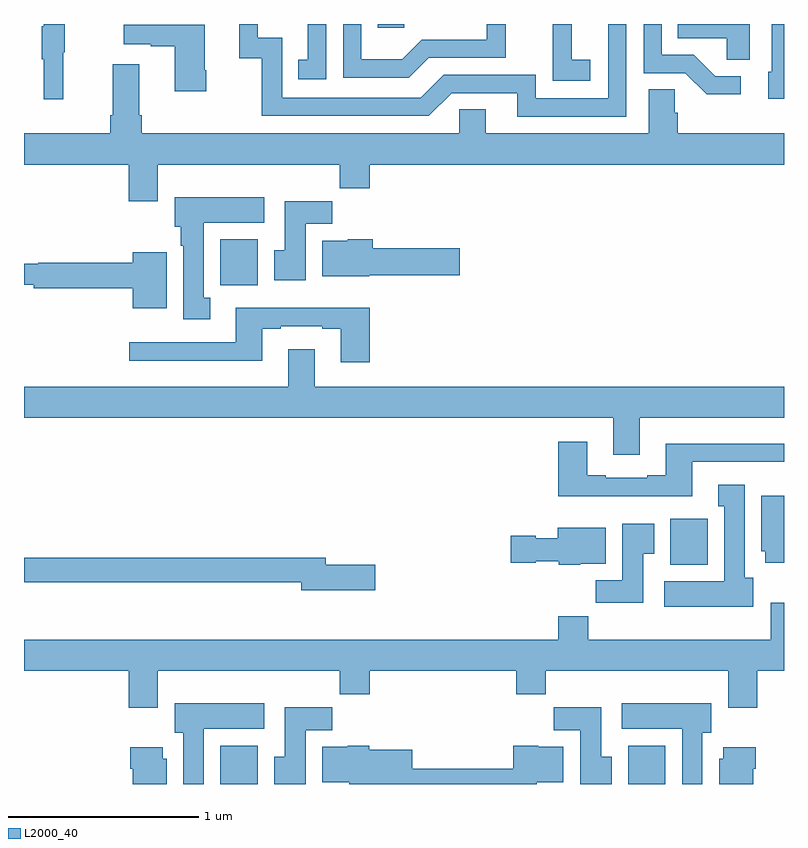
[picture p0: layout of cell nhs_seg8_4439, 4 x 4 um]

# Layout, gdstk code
import gdstk
lib = gdstk.Library(unit=1e-6, precision=1e-09)
def R(c, l, rs):  # rectangles x0, y0, x1, y1
    for r in rs: c.add(gdstk.rectangle(r[:2], r[2:], *l))
def P(c, l, *ps):  # polygons
    for p in ps: c.add(gdstk.Polygon(p, *l))
L2000_40 = (2000, 40)

nhs_seg8_4439 = lib.new_cell('nhs_seg8_4439')
R(nhs_seg8_4439, L2000_40, [(382.034,1119.9,382.231,1120.102), (384.179,1119.9,384.375,1120.102), (384.401,1121.054,384.598,1121.296), (382.034,1122.524,382.231,1122.766), (382.861,1123.881,383.001,1123.9)])
P(nhs_seg8_4439, L2000_40, [(384.171,1123.9),(384.075,1123.9),(384.075,1123.509),(383.694,1123.509),(383.694,1123.632),(383.208,1123.632),(383.088,1123.512),(382.359,1123.512),(382.359,1123.827),(382.23,1123.827),(382.23,1123.9),(382.133,1123.9),(382.133,1123.719),(382.251,1123.719),(382.251,1123.416),(383.13,1123.416),(383.25,1123.536),(383.597,1123.536),(383.597,1123.413),(384.171,1123.413)],
  [(383.131,1123.722),(383.535,1123.722),(383.535,1123.9),(383.436,1123.9),(383.436,1123.818),(383.094,1123.818),(382.99,1123.714),(382.776,1123.714),(382.776,1123.9),(382.68,1123.9),(382.68,1123.617),(383.026,1123.617)],
  [(384.82,1123.9),(384.442,1123.9),(384.442,1123.826),(384.699,1123.826),(384.699,1123.711),(384.82,1123.711)],
  [(384.772,1123.626),(384.637,1123.626),(384.526,1123.737),(384.357,1123.737),(384.357,1123.9),(384.261,1123.9),(384.261,1123.641),(384.48,1123.641),(384.593,1123.529),(384.772,1123.529)],
  [(381.206,1123.752),(381.214,1123.752),(381.214,1123.9),(381.104,1123.9),(381.104,1123.889),(381.093,1123.889),(381.093,1123.715),(381.104,1123.715),(381.104,1123.503),(381.206,1123.503)],
  [(382.59,1123.9),(382.493,1123.9),(382.493,1123.713),(382.444,1123.713),(382.444,1123.608),(382.59,1123.608)],
  [(385,1123.9),(384.936,1123.9),(384.936,1123.65),(384.917,1123.65),(384.917,1123.506),(385,1123.506)],
  [(383.98,1123.711),(383.882,1123.711),(383.882,1123.9),(383.783,1123.9),(383.783,1123.807),(383.782,1123.807),(383.782,1123.601),(383.98,1123.601)],
  [(381.96,1123.657),(381.952,1123.657),(381.952,1123.897),(381.525,1123.897),(381.525,1123.793),(381.668,1123.793),(381.668,1123.783),(381.794,1123.783),(381.794,1123.545),(381.96,1123.545)],
  [(381.703,1123.16),(382.663,1123.16),(382.663,1123.036),(382.82,1123.036),(382.82,1123.16),(385,1123.16),(385,1123.324),(384.44,1123.324),(384.44,1123.433),(384.426,1123.433),(384.426,1123.556),(384.287,1123.556),(384.287,1123.324),(383.431,1123.324),(383.431,1123.451),(383.292,1123.451),(383.292,1123.324),(381.62,1123.324),(381.62,1123.42),(381.607,1123.42),(381.607,1123.687),(381.467,1123.687),(381.467,1123.42),(381.455,1123.42),(381.455,1123.324),(381,1123.324),(381,1123.16),(381.551,1123.16),(381.551,1122.966),(381.703,1122.966)],
  [(381.979,1122.458),(381.946,1122.458),(381.946,1122.854),(382.264,1122.854),(382.264,1122.988),(381.794,1122.988),(381.794,1122.834),(381.824,1122.834),(381.824,1122.734),(381.839,1122.734),(381.839,1122.345),(381.979,1122.345)],
  [(382.483,1122.848),(382.622,1122.848),(382.622,1122.967),(382.373,1122.967),(382.373,1122.708),(382.316,1122.708),(382.316,1122.552),(382.483,1122.552)],
  [(382.818,1122.578),(383.293,1122.578),(383.293,1122.72),(382.835,1122.72),(382.835,1122.766),(382.704,1122.766),(382.704,1122.76),(382.571,1122.76),(382.571,1122.572),(382.818,1122.572)],
  [(381.751,1122.7),(381.572,1122.7),(381.572,1122.644),(381.076,1122.644),(381.076,1122.637),(381,1122.637),(381,1122.527),(381.052,1122.527),(381.052,1122.508),(381.572,1122.508),(381.572,1122.404),(381.751,1122.404)],
  [(382.82,1122.406),(382.115,1122.406),(382.115,1122.225),(381.555,1122.225),(381.555,1122.128),(382.255,1122.128),(382.255,1122.297),(382.351,1122.297),(382.351,1122.309),(382.571,1122.309),(382.571,1122.297),(382.667,1122.297),(382.667,1122.12),(382.82,1122.12)],
  [(384.241,1121.828),(385,1121.828),(385,1121.992),(382.531,1121.992),(382.531,1122.187),(382.391,1122.187),(382.391,1121.992),(381,1121.992),(381,1121.828),(384.101,1121.828),(384.101,1121.634),(384.241,1121.634)],
  [(384.517,1121.595),(385,1121.595),(385,1121.692),(384.377,1121.692),(384.377,1121.524),(384.281,1121.524),(384.281,1121.511),(384.061,1121.511),(384.061,1121.524),(383.965,1121.524),(383.965,1121.701),(383.813,1121.701),(383.813,1121.414),(384.517,1121.414)],
  [(384.838,1120.986),(384.793,1120.986),(384.793,1121.476),(384.653,1121.476),(384.653,1121.363),(384.686,1121.363),(384.686,1120.966),(384.369,1120.966),(384.369,1120.832),(384.838,1120.832)],
  [(385,1121.416),(384.881,1121.416),(384.881,1121.124),(384.902,1121.124),(384.902,1121.064),(385,1121.064)],
  [(384.259,1121.113),(384.316,1121.113),(384.316,1121.269),(384.149,1121.269),(384.149,1120.972),(384.01,1120.972),(384.01,1120.854),(384.259,1120.854)],
  [(383.928,1121.06),(384.061,1121.06),(384.061,1121.248),(383.81,1121.248),(383.81,1121.194),(383.694,1121.194),(383.694,1121.207),(383.562,1121.207),(383.562,1121.065),(383.694,1121.065),(383.694,1121.072),(383.814,1121.072),(383.814,1121.054),(383.928,1121.054)],
  [(382.849,1121.054),(382.588,1121.054),(382.588,1121.09),(381,1121.09),(381,1120.962),(382.46,1120.962),(382.46,1120.919),(382.849,1120.919)],
  [(381.703,1120.496),(382.663,1120.496),(382.663,1120.372),(382.82,1120.372),(382.82,1120.496),(383.591,1120.496),(383.591,1120.372),(383.747,1120.372),(383.747,1120.496),(384.707,1120.496),(384.707,1120.302),(384.86,1120.302),(384.86,1120.496),(385,1120.496),(385,1120.855),(384.929,1120.855),(384.929,1120.66),(383.969,1120.66),(383.969,1120.784),(383.813,1120.784),(383.813,1120.66),(381,1120.66),(381,1120.496),(381.551,1120.496),(381.551,1120.302),(381.703,1120.302)],
  [(381.946,1120.19),(382.264,1120.19),(382.264,1120.324),(381.794,1120.324),(381.794,1120.17),(381.839,1120.17),(381.839,1119.9),(381.946,1119.9)],
  [(384.571,1120.17),(384.616,1120.17),(384.616,1120.324),(384.147,1120.324),(384.147,1120.19),(384.464,1120.19),(384.464,1119.9),(384.571,1119.9)],
  [(382.483,1120.184),(382.622,1120.184),(382.622,1120.303),(382.373,1120.303),(382.373,1120.044),(382.316,1120.044),(382.316,1119.9),(382.483,1119.9)],
  [(384.094,1120.044),(384.037,1120.044),(384.037,1120.303),(383.788,1120.303),(383.788,1120.184),(383.927,1120.184),(383.927,1119.9),(384.094,1119.9)],
  [(383.698,1119.908),(383.839,1119.908),(383.839,1120.096),(383.706,1120.096),(383.706,1120.102),(383.576,1120.102),(383.576,1119.98),(383.044,1119.98),(383.044,1120.081),(382.818,1120.081),(382.818,1120.102),(382.704,1120.102),(382.704,1120.096),(382.571,1120.096),(382.571,1119.908),(382.712,1119.908),(382.712,1119.9),(383.698,1119.9)],
  [(384.838,1119.98),(384.851,1119.98),(384.851,1120.093),(384.68,1120.093),(384.68,1120.032),(384.659,1120.032),(384.659,1119.9),(384.838,1119.9)],
  [(381.751,1120.032),(381.73,1120.032),(381.73,1120.093),(381.56,1120.093),(381.56,1119.98),(381.572,1119.98),(381.572,1119.9),(381.751,1119.9)])

lib.write_gds('nhs_seg8_4439.gds')
